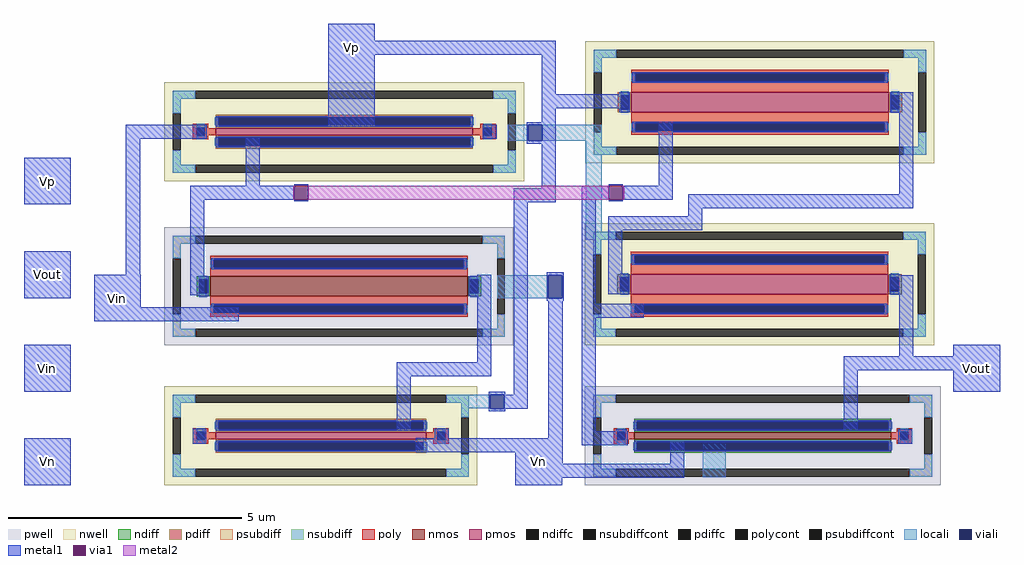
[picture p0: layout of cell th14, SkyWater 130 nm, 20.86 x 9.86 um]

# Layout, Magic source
magic
tech sky130A
magscale 1 2
<< nwell >>
rect 722 -1022 776 -958
<< locali >>
rect 2068 272 2156 340
rect 2216 272 2470 340
rect 2402 -152 2470 272
rect 2022 -400 2241 -302
rect 1868 -872 1992 -814
rect 2902 -1166 3000 -1018
<< viali >>
rect 2156 272 2216 340
rect 2241 -400 2301 -302
rect 1992 -873 2052 -813
<< metal1 >>
rect 1300 700 1500 772
rect 1300 640 2274 700
rect 436 280 782 340
rect 1300 338 1500 640
rect 2214 472 2274 640
rect 2214 412 2582 472
rect 2214 352 2274 412
rect 3704 392 3802 480
rect 2150 340 2274 352
rect 0 0 200 200
rect 0 -400 200 -200
rect 436 -300 496 280
rect 948 80 1008 282
rect 1960 280 2020 340
rect 2150 272 2156 340
rect 2216 272 2274 340
rect 2150 260 2274 272
rect 1156 80 1216 86
rect 710 20 1156 80
rect 2214 70 2274 260
rect 2500 80 2560 86
rect 2714 80 2774 348
rect 300 -440 500 -300
rect 710 -388 770 20
rect 1156 14 1216 20
rect 2094 10 2274 70
rect 2384 20 2500 80
rect 2560 20 2774 80
rect 3742 44 3802 392
rect 1938 -314 1998 -300
rect 1908 -374 1998 -314
rect 1910 -380 1998 -374
rect 300 -500 918 -440
rect 0 -800 200 -600
rect 1938 -674 1998 -380
rect 1594 -734 1998 -674
rect 0 -1200 200 -1000
rect 722 -1022 776 -958
rect 1594 -962 1654 -734
rect 1986 -813 2058 -801
rect 2094 -813 2154 10
rect 2235 -302 2307 -290
rect 2235 -400 2241 -302
rect 2301 -400 2307 -302
rect 2235 -412 2307 -400
rect 1986 -873 1992 -813
rect 2052 -873 2154 -813
rect 1986 -885 2058 -873
rect 1756 -1000 1816 -958
rect 2242 -1000 2302 -412
rect 1674 -1060 2302 -1000
rect 2384 -424 2444 20
rect 2500 14 2560 20
rect 2840 -16 3802 44
rect 2840 -50 2900 -16
rect 2498 -110 2900 -50
rect 2498 -312 2558 -110
rect 2498 -382 2580 -312
rect 3700 -362 3802 -302
rect 2498 -384 2558 -382
rect 2384 -484 2650 -424
rect 2384 -970 2444 -484
rect 3742 -648 3802 -362
rect 3972 -648 4172 -600
rect 3504 -708 4172 -648
rect 3504 -964 3564 -708
rect 3972 -800 4172 -708
rect 2384 -1030 2580 -970
rect 2100 -1108 2302 -1060
rect 2762 -1108 2822 -1016
rect 3736 -1022 3796 -962
rect 2100 -1168 2822 -1108
rect 2100 -1200 2300 -1168
<< via1 >>
rect 1156 20 1216 80
rect 2500 20 2560 80
<< metal2 >>
rect 1150 20 1156 80
rect 1216 20 2500 80
rect 2560 20 2566 80
use sky130_fd_pr__pfet_01v8_XJ7SDL  XM0
transform 0 -1 1269 1 0 -989
box -211 -669 211 669
use sky130_fd_pr__nfet_01v8_ZFMUVB  XM1
transform 1 0 1346 0 1 -350
box -746 -252 746 252
use sky130_fd_pr__pfet_01v8_UJPVTG  XM2
transform 0 -1 1369 1 0 311
box -211 -769 211 769
use sky130_fd_pr__pfet_01v8_VZ9GTR  XM3
transform 1 0 3146 0 1 437
box -746 -261 746 261
use sky130_fd_pr__pfet_01v8_VZ9GTR  XM4
transform 1 0 3144 0 1 -341
box -746 -261 746 261
use sky130_fd_pr__nfet_01v8_9GNSAM  XM5
transform 0 -1 3158 1 0 -989
box -211 -760 211 760
<< labels >>
flabel metal1 2100 -1200 2300 -1000 0 FreeSans 256 0 0 0 Vn
port 3 nsew
flabel metal1 1300 572 1500 772 0 FreeSans 256 0 0 0 Vp
port 0 nsew
flabel metal1 300 -500 500 -300 0 FreeSans 256 0 0 0 Vin
port 2 nsew
flabel metal1 3972 -800 4172 -600 0 FreeSans 256 0 0 0 Vout
port 1 nsew
flabel metal1 0 0 200 200 0 FreeSans 256 0 0 0 Vp
flabel metal1 0 -400 200 -200 0 FreeSans 256 0 0 0 Vout
flabel metal1 0 -800 200 -600 0 FreeSans 256 0 0 0 Vin
flabel metal1 0 -1200 200 -1000 0 FreeSans 256 0 0 0 Vn
<< end >>

# cell sky130_fd_pr__pfet_01v8_XJ7SDL: kit device sky130_fd_pr__pfet_01v8, w 4.5 l 0.15 m 1 nf 1 diffcov 100 polycov 100 guard 1 glc 1 grc 1 gtc 1 gbc 1 tbcov 100 rlcov 100 topc 1 botc 1 poverlap 0 doverlap 1 lmin 0.15 wmin 0.42 compatible {sky130_fd_pr__pfet_01v8 sky130_fd_pr__pfet_01v8_lvt sky130_fd_pr__pfet_01v8_hvt sky130_fd_pr__pfet_g5v0d10v5} full_metal 1 viasrc 100 viadrn 100 viagate 100 viagb 0 viagr 0 viagl 0 viagt 0

# cell sky130_fd_pr__nfet_01v8_ZFMUVB: kit device sky130_fd_pr__nfet_01v8, w 0.42 l 5.5 m 1 nf 1 diffcov 100 polycov 100 guard 1 glc 1 grc 1 gtc 1 gbc 1 tbcov 100 rlcov 100 topc 1 botc 1 poverlap 0 doverlap 1 lmin 0.15 wmin 0.42 compatible {sky130_fd_pr__nfet_01v8 sky130_fd_pr__nfet_01v8_lvt sky130_fd_bs_flash__special_sonosfet_star sky130_fd_pr__nfet_g5v0d10v5 sky130_fd_pr__nfet_05v0_nvt sky130_fd_pr__nfet_03v3_nvt} full_metal 1 viasrc 100 viadrn 100 viagate 100 viagb 0 viagr 0 viagl 0 viagt 0

# cell sky130_fd_pr__pfet_01v8_UJPVTG: kit device sky130_fd_pr__pfet_01v8, w 5.5 l 0.15 m 1 nf 1 diffcov 100 polycov 100 guard 1 glc 1 grc 1 gtc 1 gbc 1 tbcov 100 rlcov 100 topc 1 botc 1 poverlap 0 doverlap 1 lmin 0.15 wmin 0.42 compatible {sky130_fd_pr__pfet_01v8 sky130_fd_pr__pfet_01v8_lvt sky130_fd_pr__pfet_01v8_hvt sky130_fd_pr__pfet_g5v0d10v5} full_metal 1 viasrc 100 viadrn 100 viagate 100 viagb 0 viagr 0 viagl 0 viagt 0

# cell sky130_fd_pr__pfet_01v8_VZ9GTR: kit device sky130_fd_pr__pfet_01v8, w 0.42 l 5.5 m 1 nf 1 diffcov 100 polycov 100 guard 1 glc 1 grc 1 gtc 1 gbc 1 tbcov 100 rlcov 100 topc 1 botc 1 poverlap 0 doverlap 1 lmin 0.15 wmin 0.42 compatible {sky130_fd_pr__pfet_01v8 sky130_fd_pr__pfet_01v8_lvt sky130_fd_pr__pfet_01v8_hvt sky130_fd_pr__pfet_g5v0d10v5} full_metal 1 viasrc 100 viadrn 100 viagate 100 viagb 0 viagr 0 viagl 0 viagt 0

# cell sky130_fd_pr__nfet_01v8_9GNSAM: kit device sky130_fd_pr__nfet_01v8, w 5.5 l 0.15 m 1 nf 1 diffcov 100 polycov 100 guard 1 glc 1 grc 1 gtc 1 gbc 1 tbcov 100 rlcov 100 topc 1 botc 1 poverlap 0 doverlap 1 lmin 0.15 wmin 0.42 compatible {sky130_fd_pr__nfet_01v8 sky130_fd_pr__nfet_01v8_lvt sky130_fd_bs_flash__special_sonosfet_star sky130_fd_pr__nfet_g5v0d10v5 sky130_fd_pr__nfet_05v0_nvt sky130_fd_pr__nfet_03v3_nvt} full_metal 1 viasrc 100 viadrn 100 viagate 100 viagb 0 viagr 0 viagl 0 viagt 0
